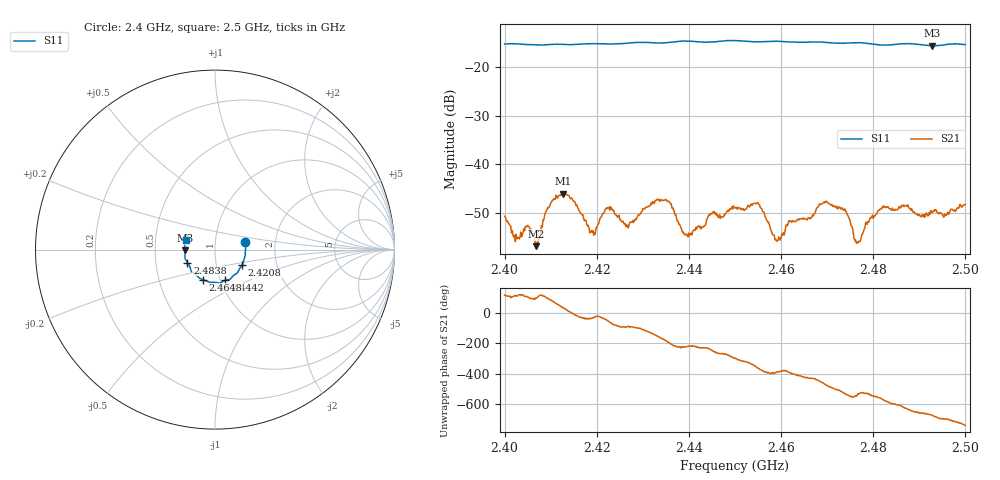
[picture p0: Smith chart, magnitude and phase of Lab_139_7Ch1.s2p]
# Hz S RI R 50
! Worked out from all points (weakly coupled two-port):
!   601 points, 2.4 GHz to 2.5 GHz, reference 50 ohm
!   highest |S21| = -46.03 dB at 2.4127 GHz (marker M1); lowest = -56.8 dB at 2.4068 GHz (marker M2)
!   lowest |S11| = -15.6 dB at 2.4928 GHz (marker M3), VSWR 1.40, Z = 35.8 - j0.348 ohm
!   |S11| at or under -10 dB: start of sweep to end of sweep
!   S12 and S22 are empty: the file has one direction only
!   S11 on the Smith chart (normalised r, x): 2.4 GHz: 1.40, +0.12; 2.4208 GHz: 1.33, -0.24; 2.4442 GHz: 1.05, -0.37; 2.4648 GHz: 0.83, -0.29; 2.4838 GHz: 0.73, -0.11; 2.5 GHz: 0.72, +0.08
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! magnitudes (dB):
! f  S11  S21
! 2.4 GHz  -15.3  -50.7
! 2.4068 GHz  -15.4  -56.8
! 2.4095 GHz  -15.4  -49.0
! 2.4127 GHz  -15.3  -46.0
! 2.4167 GHz  -15.2  -50.3
! 2.4192 GHz  -15.2  -53.6
! 2.4208 GHz  -15.2  -50.9
! 2.4265 GHz  -15.1  -52.5
! 2.4333 GHz  -15.0  -47.2
! 2.4393 GHz  -14.6  -54.5
! 2.4442 GHz  -14.9  -50.8
! 2.45 GHz  -14.5  -48.9
! 2.4548 GHz  -14.8  -48.0
! 2.4592 GHz  -14.7  -55.8
! 2.4648 GHz  -14.9  -51.0
! 2.4667 GHz  -14.8  -50.8
! 2.4737 GHz  -15.1  -49.4
! 2.4767 GHz  -15.0  -56.2
! 2.4833 GHz  -15.5  -49.0
! 2.4838 GHz  -15.4  -49.4
! 2.4928 GHz  -15.6  -50.0
! 2.5 GHz  -15.4  -48.2
